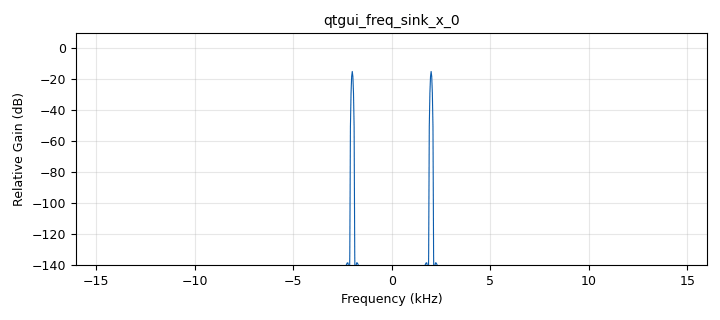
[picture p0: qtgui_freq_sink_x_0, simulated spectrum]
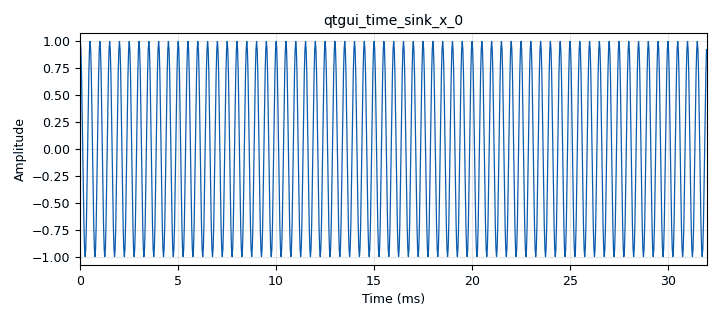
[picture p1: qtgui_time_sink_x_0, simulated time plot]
options:
  parameters:
    author: Daniel Suarez y Sebastian Morales
    copyright: uis
    description: hacer despues....
    generate_options: qt_gui
    id: practica1_parte1
    output_language: python
    title: practica1_parte1
  states: {}

blocks:
- name: freq
  id: variable_qtgui_range
  parameters:
    label: frecuencia del coseno
    orient: Qt.Horizontal
    start: 1e3
    step: 1e3
    stop: 40e3
    value: '2000'
  states: {}
- name: samp_rate
  id: variable
  parameters:
    value: '32000'
  states: {}
- name: analog_sig_source_x_0
  id: analog_sig_source_x
  parameters:
    amp: '1'
    freq: freq
    offset: '0'
    phase: '0'
    samp_rate: samp_rate
    type: float
    waveform: analog.GR_COS_WAVE
  states: {}
- name: blocks_throttle_0
  id: blocks_throttle
  parameters:
    samples_per_second: samp_rate
    type: float
  states: {}
- name: qtgui_freq_sink_x_0
  id: qtgui_freq_sink_x
  parameters:
    average: '0.05'
    bw: samp_rate
    fc: '0'
    fftsize: '1024'
    type: float
    wintype: firdes.WIN_BLACKMAN_hARRIS
  states: {}
- name: qtgui_time_sink_x_0
  id: qtgui_time_sink_x
  parameters:
    size: '1024'
    srate: samp_rate
    type: float
  states: {}

connections:
- [analog_sig_source_x_0, '0', blocks_throttle_0, '0']
- [blocks_throttle_0, '0', qtgui_freq_sink_x_0, '0']
- [blocks_throttle_0, '0', qtgui_time_sink_x_0, '0']

metadata:
  file_format: 1
